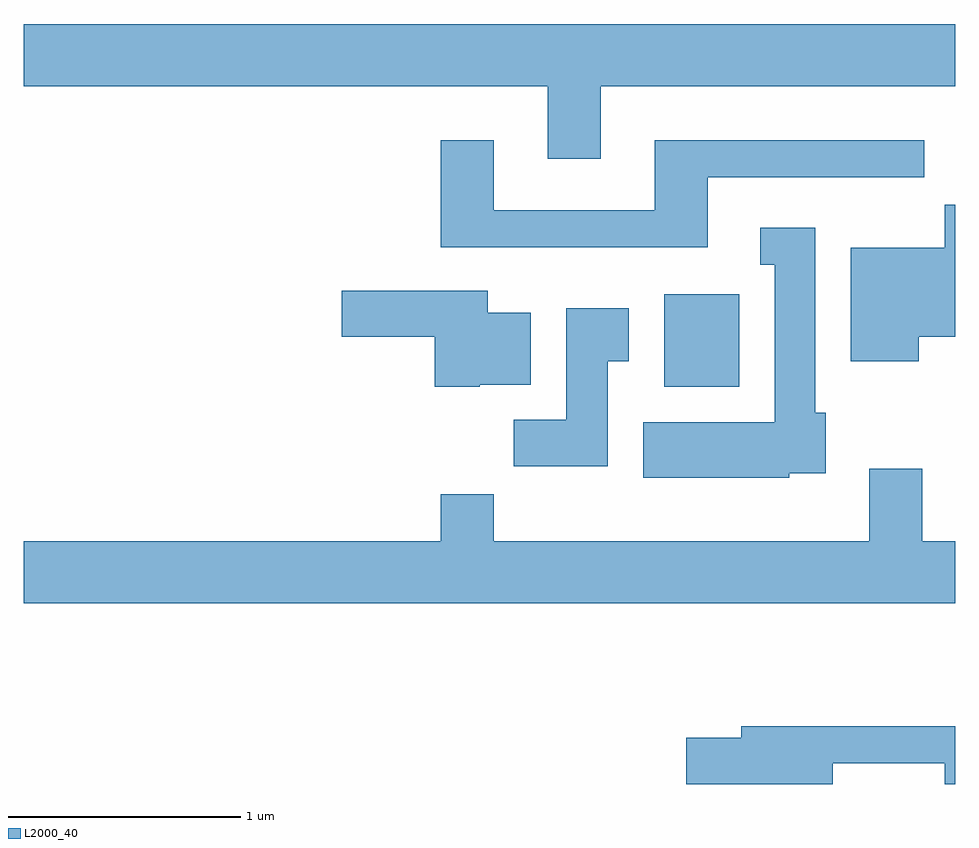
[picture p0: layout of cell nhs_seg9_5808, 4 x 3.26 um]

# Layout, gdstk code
import gdstk
lib = gdstk.Library(unit=1e-6, precision=1e-09)
def R(c, l, rs):  # rectangles x0, y0, x1, y1
    for r in rs: c.add(gdstk.rectangle(r[:2], r[2:], *l))
def P(c, l, *ps):  # polygons
    for p in ps: c.add(gdstk.Polygon(p, *l))
L2000_40 = (2000, 40)

nhs_seg9_5808 = lib.new_cell('nhs_seg9_5808')
R(nhs_seg9_5808, L2000_40, [(358.361,2068.226,358.684,2068.624)])
P(nhs_seg9_5808, L2000_40, [(358.089,2069.516),(359.611,2069.516),(359.611,2069.784),(355.611,2069.784),(355.611,2069.516),(357.861,2069.516),(357.861,2069.206),(358.089,2069.206)],
  [(358.549,2069.126),(359.478,2069.126),(359.478,2069.284),(358.321,2069.284),(358.321,2068.984),(357.629,2068.984),(357.629,2069.284),(357.401,2069.284),(357.401,2068.826),(358.549,2068.826)],
  [(359.454,2068.441),(359.611,2068.441),(359.611,2069.009),(359.566,2069.009),(359.566,2068.824),(359.161,2068.824),(359.161,2068.336),(359.454,2068.336)],
  [(358.899,2067.856),(359.054,2067.856),(359.054,2068.114),(359.009,2068.114),(359.009,2068.909),(358.773,2068.909),(358.773,2068.751),(358.836,2068.751),(358.836,2068.074),(358.271,2068.074),(358.271,2067.836),(358.899,2067.836)],
  [(357.57,2068.236),(357.789,2068.236),(357.789,2068.544),(357.604,2068.544),(357.604,2068.639),(356.976,2068.639),(356.976,2068.441),(357.376,2068.441),(357.376,2068.226),(357.57,2068.226)],
  [(358.119,2068.336),(358.209,2068.336),(358.209,2068.564),(357.941,2068.564),(357.941,2068.084),(357.716,2068.084),(357.716,2067.886),(358.119,2067.886)],
  [(359.611,2067.564),(359.469,2067.564),(359.469,2067.874),(359.241,2067.874),(359.241,2067.564),(357.629,2067.564),(357.629,2067.764),(357.401,2067.764),(357.401,2067.564),(355.611,2067.564),(355.611,2067.296),(359.611,2067.296)],
  [(359.084,2066.611),(359.566,2066.611),(359.566,2066.521),(359.611,2066.521),(359.611,2066.769),(358.691,2066.769),(358.691,2066.719),(358.456,2066.719),(358.456,2066.521),(359.084,2066.521)])

lib.write_gds('nhs_seg9_5808.gds')
